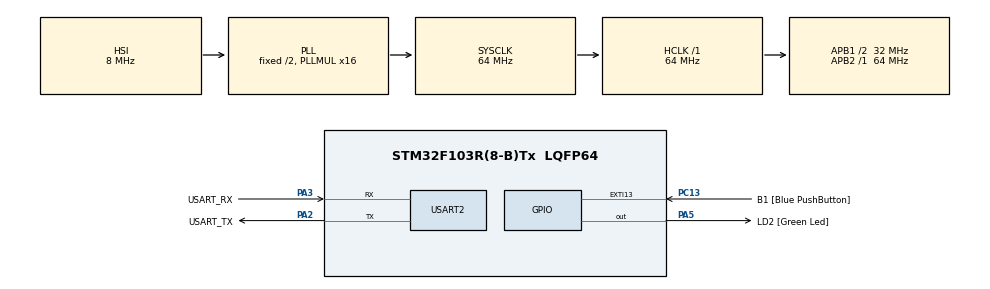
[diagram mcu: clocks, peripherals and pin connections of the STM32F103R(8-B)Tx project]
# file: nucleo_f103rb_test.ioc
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Mcu.Family=STM32F1
Mcu.Name=STM32F103R(8-B)Tx
Mcu.Package=LQFP64
NVIC.EXTI15_10_IRQn=true\:0\:0\:false\:false\:true\:true\:true\:true
NVIC.PriorityGroup=NVIC_PRIORITYGROUP_4
PA13.GPIO_Label=TMS
PA13.Mode=Serial_Wire
PA13.Signal=SYS_JTMS-SWDIO
PA14.GPIO_Label=TCK
PA14.Mode=Serial_Wire
PA14.Signal=SYS_JTCK-SWCLK
PA2.GPIO_Label=USART_TX
PA2.GPIO_Mode=GPIO_MODE_AF_PP
PA2.GPIO_PuPd=GPIO_NOPULL
PA2.GPIO_Speed=GPIO_SPEED_FREQ_LOW
PA2.Mode=Asynchronous
PA2.Signal=USART2_TX
PA3.GPIO_Label=USART_RX
PA3.GPIO_Mode=GPIO_MODE_AF_PP
PA3.GPIO_PuPd=GPIO_NOPULL
PA3.GPIO_Speed=GPIO_SPEED_FREQ_LOW
PA3.Mode=Asynchronous
PA3.Signal=USART2_RX
PA5.GPIO_Label=LD2 [Green Led]
PA5.GPIO_ModeDefaultOutputPP=GPIO_MODE_OUTPUT_PP
PA5.GPIO_PuPd=GPIO_NOPULL
PA5.GPIO_Speed=GPIO_SPEED_FREQ_LOW
PA5.Signal=GPIO_Output
PB3.GPIO_Label=SWO
PB3.Signal=SYS_JTDO-TRACESWO
PC13-TAMPER-RTC.GPIO_Label=B1 [Blue PushButton]
PC13-TAMPER-RTC.GPIO_PuPd=GPIO_NOPULL
PC13-TAMPER-RTC.Signal=GPXTI13
PC14-OSC32_IN.Mode=LSE-External-Oscillator
PC14-OSC32_IN.Signal=RCC_OSC32_IN
PC15-OSC32_OUT.Mode=LSE-External-Oscillator
PC15-OSC32_OUT.Signal=RCC_OSC32_OUT
PD0-OSC_IN.Mode=HSE-External-Clock-Source
PD0-OSC_IN.Signal=RCC_OSC_IN
PD1-OSC_OUT.Mode=HSE-External-Clock-Source
PD1-OSC_OUT.Signal=RCC_OSC_OUT
ProjectManager.HeapSize=0x200
ProjectManager.StackSize=0x400
ProjectManager.TargetToolchain=STM32CubeIDE
RCC.AHBFreq_Value=64000000
RCC.APB1CLKDivider=RCC_HCLK_DIV2
RCC.APB1Freq_Value=32000000
RCC.APB1TimFreq_Value=64000000
RCC.APB2Freq_Value=64000000
RCC.APB2TimFreq_Value=64000000
RCC.HCLKFreq_Value=64000000
RCC.PLLMUL=RCC_PLL_MUL16
RCC.RTCClockSelection=RCC_RTCCLKSOURCE_LSE
RCC.SYSCLKFreq_VALUE=64000000
RCC.SYSCLKSource=RCC_SYSCLKSOURCE_PLLCLK
RCC.USBFreq_Value=64000000
USART2.VirtualMode=VM_ASYNC
board=NUCLEO-F103RB

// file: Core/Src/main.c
/* USER CODE BEGIN Header */
/**
  ******************************************************************************
  * @file           : main.c
  * @brief          : Main program body
  ******************************************************************************
  * @attention
  *
  * Copyright (c) 2024 STMicroelectronics.
  * All rights reserved.
  *
  * This software is licensed under terms that can be found in the LICENSE file
  * in the root directory of this software component.
  * If no LICENSE file comes with this software, it is provided AS-IS.
  *
  ******************************************************************************
  */
/* USER CODE END Header */
#include "main.h"

/* USER CODE BEGIN Includes */
#include <table_miner.h>
/* USER CODE END Includes */

UART_HandleTypeDef huart2;

void SystemClock_Config(void);
static void MX_GPIO_Init(void);
static void MX_USART2_UART_Init(void);
/* USER CODE BEGIN PFP */
#ifdef __GNUC__
#define PUTCHAR_PROTOTYPE int __io_putchar(int ch)
#else
#define PUTCHAR_PROTOTYPE int fputc(int ch, FILE *f)
#endif

PUTCHAR_PROTOTYPE
{
	HAL_UART_Transmit(&huart2, (uint8_t *)&ch, 1, HAL_MAX_DELAY);
	return ch;
}
/* USER CODE END PFP */

/* USER CODE BEGIN 0 */
void testFunc()
{
    _Bool next2 = true;
    _Bool next4 = true;
    _Bool next6 = true;
    _Bool bad_time_f3_to6 = true;

    add_limit(3, 6, 100);

    add_event(0, HAL_GetTick());

    for (uint8_t i = 0; i < 100; i++) {
        add_event(1, HAL_GetTick());
        if (next2) {
            add_event(2, HAL_GetTick());
            if (next4) {
                add_event(4, HAL_GetTick());
            } else {
                add_event(5, HAL_GetTick());
            }
            next4 = !next4;
        } else {
            add_event(3, HAL_GetTick());
            if (next6) {
                if (bad_time_f3_to6) {
                    HAL_Delay(100);
                    add_event(6, HAL_GetTick());
                } else {
                    add_event(6, HAL_GetTick());
                }
                bad_time_f3_to6 = !bad_time_f3_to6;
            }
            next6 = !next6;
        }
        next2 = !next2;
        add_event(7, HAL_GetTick());
    }

    add_event(8, HAL_GetTick());
}
/* USER CODE END 0 */

int main(void)
{

  /* MCU Configuration--------------------------------------------------------*/

  /* Reset of all peripherals, Initializes the Flash interface and the Systick. */
  HAL_Init();

  /* Configure the system clock */
  SystemClock_Config();

  /* Initialize all configured peripherals */
  MX_GPIO_Init();
  MX_USART2_UART_Init();
  /* USER CODE BEGIN 2 */
  if (init_event_table(10) != 0) {
	  printf("init event table ERROR (memory calloc problem)!\n");
  }

  printf("Start!\n");
  testFunc();
  print_gigraph();
  printf("End!\n");
  /* USER CODE END 2 */

  /* Infinite loop */
  while (1)
  {

  }
}

void SystemClock_Config(void)
{
  RCC_OscInitTypeDef RCC_OscInitStruct = {0};
  RCC_ClkInitTypeDef RCC_ClkInitStruct = {0};

  /** Initializes the RCC Oscillators according to the specified parameters
  * in the RCC_OscInitTypeDef structure.
  */
  RCC_OscInitStruct.OscillatorType = RCC_OSCILLATORTYPE_HSI;
  RCC_OscInitStruct.HSIState = RCC_HSI_ON;
  RCC_OscInitStruct.HSICalibrationValue = RCC_HSICALIBRATION_DEFAULT;
  RCC_OscInitStruct.PLL.PLLState = RCC_PLL_ON;
  RCC_OscInitStruct.PLL.PLLSource = RCC_PLLSOURCE_HSI_DIV2;
  RCC_OscInitStruct.PLL.PLLMUL = RCC_PLL_MUL16;
  if (HAL_RCC_OscConfig(&RCC_OscInitStruct) != HAL_OK)
  {
    Error_Handler();
  }

  /** Initializes the CPU, AHB and APB buses clocks
  */
  RCC_ClkInitStruct.ClockType = RCC_CLOCKTYPE_HCLK|RCC_CLOCKTYPE_SYSCLK
                              |RCC_CLOCKTYPE_PCLK1|RCC_CLOCKTYPE_PCLK2;
  RCC_ClkInitStruct.SYSCLKSource = RCC_SYSCLKSOURCE_PLLCLK;
  RCC_ClkInitStruct.AHBCLKDivider = RCC_SYSCLK_DIV1;
  RCC_ClkInitStruct.APB1CLKDivider = RCC_HCLK_DIV2;
  RCC_ClkInitStruct.APB2CLKDivider = RCC_HCLK_DIV1;

  if (HAL_RCC_ClockConfig(&RCC_ClkInitStruct, FLASH_LATENCY_2) != HAL_OK)
  {
    Error_Handler();
  }
}

static void MX_USART2_UART_Init(void)
{

  huart2.Instance = USART2;
  huart2.Init.BaudRate = 115200;
  huart2.Init.WordLength = UART_WORDLENGTH_8B;
  huart2.Init.StopBits = UART_STOPBITS_1;
  huart2.Init.Parity = UART_PARITY_NONE;
  huart2.Init.Mode = UART_MODE_TX_RX;
  huart2.Init.HwFlowCtl = UART_HWCONTROL_NONE;
  huart2.Init.OverSampling = UART_OVERSAMPLING_16;
  if (HAL_UART_Init(&huart2) != HAL_OK)
  {
    Error_Handler();
  }

}

static void MX_GPIO_Init(void)
{
  GPIO_InitTypeDef GPIO_InitStruct = {0};

  /* GPIO Ports Clock Enable */
  __HAL_RCC_GPIOC_CLK_ENABLE();
  __HAL_RCC_GPIOD_CLK_ENABLE();
  __HAL_RCC_GPIOA_CLK_ENABLE();
  __HAL_RCC_GPIOB_CLK_ENABLE();

  /*Configure GPIO pin Output Level */
  HAL_GPIO_WritePin(LD2_GPIO_Port, LD2_Pin, GPIO_PIN_RESET);

  /*Configure GPIO pin : B1_Pin */
  GPIO_InitStruct.Pin = B1_Pin;
  GPIO_InitStruct.Mode = GPIO_MODE_IT_RISING;
  GPIO_InitStruct.Pull = GPIO_NOPULL;
  HAL_GPIO_Init(B1_GPIO_Port, &GPIO_InitStruct);

  /*Configure GPIO pin : LD2_Pin */
  GPIO_InitStruct.Pin = LD2_Pin;
  GPIO_InitStruct.Mode = GPIO_MODE_OUTPUT_PP;
  GPIO_InitStruct.Pull = GPIO_NOPULL;
  GPIO_InitStruct.Speed = GPIO_SPEED_FREQ_LOW;
  HAL_GPIO_Init(LD2_GPIO_Port, &GPIO_InitStruct);

  /* EXTI interrupt init*/
  HAL_NVIC_SetPriority(EXTI15_10_IRQn, 0, 0);
  HAL_NVIC_EnableIRQ(EXTI15_10_IRQn);

}

void Error_Handler(void)
{
  __disable_irq();
  while (1)
  {
  }
}
